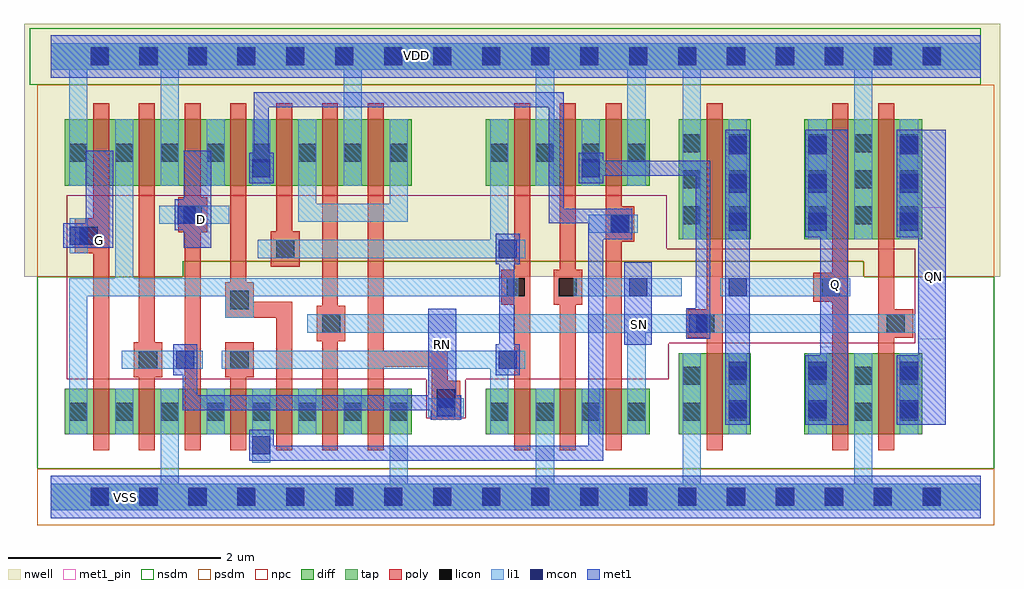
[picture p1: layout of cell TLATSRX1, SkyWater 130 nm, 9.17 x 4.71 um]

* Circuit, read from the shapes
.subckt TLATSRX1 D G Q QN RN SN VDD VSS
XM1 n1 G n2 VSS sky130_fd_pr__nfet_01v8 w=0.425 l=0.15
XM2 VSS RN n1 VSS sky130_fd_pr__nfet_01v8 w=0.425 l=0.15
XM3 n3 D VSS VSS sky130_fd_pr__nfet_01v8 w=0.425 l=0.15
XM4 n4 n5 n3 VSS sky130_fd_pr__nfet_01v8 w=0.425 l=0.15
XM5 n6 n2 n4 VSS sky130_fd_pr__nfet_01v8 w=0.425 l=0.15
XM6 n7 n8 n6 VSS sky130_fd_pr__nfet_01v8 w=0.425 l=0.15
XM7 VSS RN n7 VSS sky130_fd_pr__nfet_01v8 w=0.425 l=0.15
XM8 VSS n2 n5 VSS sky130_fd_pr__nfet_01v8 w=0.425 l=0.15
XM9 n9 SN VSS VSS sky130_fd_pr__nfet_01v8 w=0.425 l=0.15
XM10 n8 n4 n9 VSS sky130_fd_pr__nfet_01v8 w=0.425 l=0.15
XM11 n10 n8 VSS VSS sky130_fd_pr__nfet_01v8 w=0.76 l=0.15
XM12 VSS n10 Q VSS sky130_fd_pr__nfet_01v8 w=0.76 l=0.15
XM13 QN n8 VSS VSS sky130_fd_pr__nfet_01v8 w=0.76 l=0.15
XM14 n2 G VDD VDD sky130_fd_pr__pfet_01v8 w=0.625 l=0.15
XM15 VDD RN n2 VDD sky130_fd_pr__pfet_01v8 w=0.625 l=0.15
XM16 n11 D VDD VDD sky130_fd_pr__pfet_01v8 w=0.625 l=0.15
XM17 n4 n2 n11 VDD sky130_fd_pr__pfet_01v8 w=0.625 l=0.15
XM18 n12 n5 n4 VDD sky130_fd_pr__pfet_01v8 w=0.625 l=0.15
XM19 VDD n8 n12 VDD sky130_fd_pr__pfet_01v8 w=0.625 l=0.15
XM20 n12 RN VDD VDD sky130_fd_pr__pfet_01v8 w=0.625 l=0.15
XM21 VDD n2 n5 VDD sky130_fd_pr__pfet_01v8 w=0.625 l=0.15
XM22 n8 SN VDD VDD sky130_fd_pr__pfet_01v8 w=0.625 l=0.15
XM23 VDD n4 n8 VDD sky130_fd_pr__pfet_01v8 w=0.625 l=0.15
XM24 n10 n8 VDD VDD sky130_fd_pr__pfet_01v8 w=1.13 l=0.15
XM25 VDD n10 Q VDD sky130_fd_pr__pfet_01v8 w=1.13 l=0.15
XM26 QN n8 VDD VDD sky130_fd_pr__pfet_01v8 w=1.13 l=0.15
.ends

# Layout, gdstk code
from math import pi, radians
import gdstk
lib = gdstk.Library(unit=1e-6, precision=1e-09)
def R(c, l, rs):  # rectangles x0, y0, x1, y1
    for r in rs: c.add(gdstk.rectangle(r[:2], r[2:], *l))
def A(c, l, x, y, w, h, nx, ny, dx, dy):  # array of equal rectangles
    R(c, l, [(x+i*dx, y+j*dy, x+i*dx+w, y+j*dy+h) for i in range(nx) for j in range(ny)])
def P(c, l, *ps):  # polygons
    for p in ps: c.add(gdstk.Polygon(p, *l))
nwell = (64, 20)
diff = (65, 20)
tap = (65, 44)
poly = (66, 20)
licon = (66, 44)
li1 = (67, 20)
mcon = (67, 44)
met1_pin = (68, 16)
met1 = (68, 20)
nsdm = (93, 44)
psdm = (94, 20)
npc = (95, 20)

nfet_01v8_cdns_715785618 = lib.new_cell('nfet_01v8_CDNS_715785618200')
R(nfet_01v8_cdns_715785618, diff, [(-0.265,0,0,0.76), (0,0,0.15,0.76), (0.15,0,0.415,0.76)])
R(nfet_01v8_cdns_715785618, poly, [(0,-0.15,0.15,-0.095), (0,-0.095,0.15,0), (0,0,0.15,0.76), (0,0.76,0.15,0.855), (0,0.855,0.15,0.91)])
R(nfet_01v8_cdns_715785618, licon, [(-0.225,0.125,-0.055,0.295), (0.205,0.125,0.375,0.295), (-0.225,0.465,-0.055,0.635), (0.205,0.465,0.375,0.635)])
R(nfet_01v8_cdns_715785618, li1, [(-0.225,0,-0.055,0.76), (0.205,0,0.375,0.76)])
R(nfet_01v8_cdns_715785618, nsdm, [(-0.405,-0.13,0.555,0.89)])

c_nfet_01v8_cdns_715785618 = lib.new_cell('nfet_01v8_CDNS_715785618201')
R(c_nfet_01v8_cdns_715785618, diff, [(-0.265,0,0,0.425), (0,0,0.15,0.425), (0.15,0,0.415,0.425)])
R(c_nfet_01v8_cdns_715785618, poly, [(0,-0.15,0.15,-0.095), (0,-0.095,0.15,0), (0,0,0.15,0.425), (0,0.425,0.15,0.52), (0,0.52,0.15,0.575)])
R(c_nfet_01v8_cdns_715785618, licon, [(-0.225,0.125,-0.055,0.295), (0.205,0.125,0.375,0.295)])
R(c_nfet_01v8_cdns_715785618, li1, [(-0.225,0,-0.055,0.425), (0.205,0,0.375,0.425)])
R(c_nfet_01v8_cdns_715785618, nsdm, [(-0.405,-0.13,0.555,0.555)])

pfet_01v8_cdns_715785618 = lib.new_cell('pfet_01v8_CDNS_715785618202')
R(pfet_01v8_cdns_715785618, nwell, [(-0.445,-0.18,0.595,1.31)])
R(pfet_01v8_cdns_715785618, diff, [(-0.265,0,0,1.13), (0,0,0.15,1.13), (0.15,0,0.415,1.13)])
R(pfet_01v8_cdns_715785618, poly, [(0,-0.15,0.15,-0.095), (0,-0.095,0.15,0), (0,0,0.15,1.13), (0,1.13,0.15,1.225), (0,1.225,0.15,1.28)])
A(pfet_01v8_cdns_715785618, licon, -0.225, 0.14, 0.17, 0.17, 1, 3, 0, 0.34)
A(pfet_01v8_cdns_715785618, licon, 0.205, 0.14, 0.17, 0.17, 1, 3, 0, 0.34)
R(pfet_01v8_cdns_715785618, li1, [(-0.225,0,-0.055,1.13), (0.205,0,0.375,1.13)])
R(pfet_01v8_cdns_715785618, psdm, [(-0.405,-0.13,0.555,1.26)])

c_nfet_01v8_cdns_715785618_ = lib.new_cell('nfet_01v8_CDNS_715785618203')
R(c_nfet_01v8_cdns_715785618_, diff, [(-0.055,0,0,0.76), (0,0,0.15,0.76), (0.15,0,0.415,0.76)])
R(c_nfet_01v8_cdns_715785618_, poly, [(0,-0.15,0.15,-0.095), (0,-0.095,0.15,0), (0,0,0.15,0.76), (0,0.76,0.15,0.855), (0,0.855,0.15,0.91)])
R(c_nfet_01v8_cdns_715785618_, licon, [(0.205,0.125,0.375,0.295), (0.205,0.465,0.375,0.635)])
R(c_nfet_01v8_cdns_715785618_, li1, [(0.205,0,0.375,0.76)])
R(c_nfet_01v8_cdns_715785618_, nsdm, [(-0.065,-0.13,0.555,0.89)])

c_pfet_01v8_cdns_715785618 = lib.new_cell('pfet_01v8_CDNS_715785618204')
R(c_pfet_01v8_cdns_715785618, nwell, [(-0.235,-0.18,0.595,1.31)])
R(c_pfet_01v8_cdns_715785618, diff, [(-0.055,0,0,1.13), (0,0,0.15,1.13), (0.15,0,0.415,1.13)])
R(c_pfet_01v8_cdns_715785618, poly, [(0,-0.15,0.15,-0.095), (0,-0.095,0.15,0), (0,0,0.15,1.13), (0,1.13,0.15,1.225), (0,1.225,0.15,1.28)])
A(c_pfet_01v8_cdns_715785618, licon, 0.205, 0.14, 0.17, 0.17, 1, 3, 0, 0.34)
R(c_pfet_01v8_cdns_715785618, li1, [(0.205,0,0.375,1.13)])
R(c_pfet_01v8_cdns_715785618, psdm, [(-0.065,-0.13,0.555,1.26)])

c_nfet_01v8_cdns_715785618__ = lib.new_cell('nfet_01v8_CDNS_715785618205')
R(c_nfet_01v8_cdns_715785618__, diff, [(-0.265,0,0,0.425), (0,0,0.15,0.425), (0.15,0,0.375,0.425)])
R(c_nfet_01v8_cdns_715785618__, poly, [(0,-0.15,0.15,-0.095), (0,-0.095,0.15,0), (0,0,0.15,0.425), (0,0.425,0.15,0.52), (0,0.52,0.15,0.575)])
R(c_nfet_01v8_cdns_715785618__, licon, [(-0.225,0.125,-0.055,0.295), (0.205,0.125,0.375,0.295)])
R(c_nfet_01v8_cdns_715785618__, li1, [(-0.225,0,-0.055,0.425), (0.205,0,0.375,0.425)])
R(c_nfet_01v8_cdns_715785618__, nsdm, [(-0.405,-0.13,0.385,0.555)])

c_pfet_01v8_cdns_715785618_ = lib.new_cell('pfet_01v8_CDNS_7157856182014')
R(c_pfet_01v8_cdns_715785618_, nwell, [(-0.445,-0.18,0.595,0.805)])
R(c_pfet_01v8_cdns_715785618_, diff, [(-0.265,0,0,0.625), (0,0,0.15,0.625), (0.15,0,0.415,0.625)])
R(c_pfet_01v8_cdns_715785618_, poly, [(0,-0.15,0.15,-0.095), (0,-0.095,0.15,0), (0,0,0.15,0.625), (0,0.625,0.15,0.72), (0,0.72,0.15,0.775)])
R(c_pfet_01v8_cdns_715785618_, licon, [(-0.225,0.225,-0.055,0.395), (0.205,0.225,0.375,0.395)])
R(c_pfet_01v8_cdns_715785618_, li1, [(-0.225,0,-0.055,0.625), (0.205,0,0.375,0.625)])
R(c_pfet_01v8_cdns_715785618_, psdm, [(-0.405,-0.13,0.555,0.755)])

c_nfet_01v8_cdns_715785618___ = lib.new_cell('nfet_01v8_CDNS_715785618207')
R(c_nfet_01v8_cdns_715785618___, diff, [(-0.225,0,0,0.76), (0,0,0.15,0.76), (0.15,0,0.415,0.76)])
R(c_nfet_01v8_cdns_715785618___, poly, [(0,-0.15,0.15,-0.095), (0,-0.095,0.15,0), (0,0,0.15,0.76), (0,0.76,0.15,0.855), (0,0.855,0.15,0.91)])
R(c_nfet_01v8_cdns_715785618___, licon, [(-0.225,0.125,-0.055,0.295), (0.205,0.125,0.375,0.295), (-0.225,0.465,-0.055,0.635), (0.205,0.465,0.375,0.635)])
R(c_nfet_01v8_cdns_715785618___, li1, [(-0.225,0,-0.055,0.76), (0.205,0,0.375,0.76)])
R(c_nfet_01v8_cdns_715785618___, nsdm, [(-0.235,-0.13,0.555,0.89)])

c_pfet_01v8_cdns_715785618__ = lib.new_cell('pfet_01v8_CDNS_715785618209')
R(c_pfet_01v8_cdns_715785618__, nwell, [(-0.445,-0.18,0.385,0.805)])
R(c_pfet_01v8_cdns_715785618__, diff, [(-0.265,0,0,0.625), (0,0,0.15,0.625), (0.15,0,0.205,0.625)])
R(c_pfet_01v8_cdns_715785618__, poly, [(0,-0.15,0.15,-0.095), (0,-0.095,0.15,0), (0,0,0.15,0.625), (0,0.625,0.15,0.72), (0,0.72,0.15,0.775)])
R(c_pfet_01v8_cdns_715785618__, licon, [(-0.225,0.225,-0.055,0.395)])
R(c_pfet_01v8_cdns_715785618__, li1, [(-0.225,0,-0.055,0.625)])
R(c_pfet_01v8_cdns_715785618__, psdm, [(-0.405,-0.13,0.215,0.755)])

c_pfet_01v8_cdns_715785618___ = lib.new_cell('pfet_01v8_CDNS_7157856182010')
R(c_pfet_01v8_cdns_715785618___, nwell, [(-0.445,-0.18,0.555,0.805)])
R(c_pfet_01v8_cdns_715785618___, diff, [(-0.265,0,0,0.625), (0,0,0.15,0.625), (0.15,0,0.375,0.625)])
R(c_pfet_01v8_cdns_715785618___, poly, [(0,-0.15,0.15,-0.095), (0,-0.095,0.15,0), (0,0,0.15,0.625), (0,0.625,0.15,0.72), (0,0.72,0.15,0.775)])
R(c_pfet_01v8_cdns_715785618___, licon, [(-0.225,0.225,-0.055,0.395), (0.205,0.225,0.375,0.395)])
R(c_pfet_01v8_cdns_715785618___, li1, [(-0.225,0,-0.055,0.625), (0.205,0,0.375,0.625)])
R(c_pfet_01v8_cdns_715785618___, psdm, [(-0.405,-0.13,0.385,0.755)])

c_nfet_01v8_cdns_715785618____ = lib.new_cell('nfet_01v8_CDNS_7157856182011')
R(c_nfet_01v8_cdns_715785618____, diff, [(-0.265,0,0,0.425), (0,0,0.15,0.425), (0.15,0,0.205,0.425)])
R(c_nfet_01v8_cdns_715785618____, poly, [(0,-0.15,0.15,-0.095), (0,-0.095,0.15,0), (0,0,0.15,0.425), (0,0.425,0.15,0.52), (0,0.52,0.15,0.575)])
R(c_nfet_01v8_cdns_715785618____, licon, [(-0.225,0.125,-0.055,0.295)])
R(c_nfet_01v8_cdns_715785618____, li1, [(-0.225,0,-0.055,0.425)])
R(c_nfet_01v8_cdns_715785618____, nsdm, [(-0.405,-0.13,0.215,0.555)])

c_nfet_01v8_cdns_715785618_____ = lib.new_cell('nfet_01v8_CDNS_7157856182015')
R(c_nfet_01v8_cdns_715785618_____, diff, [(-0.265,0,0,0.425), (0,0,0.15,0.425), (0.15,0,0.415,0.425)])
R(c_nfet_01v8_cdns_715785618_____, poly, [(0,-0.15,0.15,-0.095), (0,-0.095,0.15,0), (0,0,0.15,0.425), (0,0.425,0.15,0.52), (0,0.52,0.15,0.575)])
R(c_nfet_01v8_cdns_715785618_____, licon, [(-0.225,0.125,-0.055,0.295), (0.205,0.125,0.375,0.295)])
R(c_nfet_01v8_cdns_715785618_____, li1, [(-0.225,0,-0.055,0.425), (0.205,0,0.375,0.425)])
R(c_nfet_01v8_cdns_715785618_____, nsdm, [(-0.405,-0.13,0.555,0.555)])

c_pfet_01v8_cdns_715785618____ = lib.new_cell('pfet_01v8_CDNS_7157856182012')
R(c_pfet_01v8_cdns_715785618____, nwell, [(-0.405,-0.18,0.595,1.31)])
R(c_pfet_01v8_cdns_715785618____, diff, [(-0.225,0,0,1.13), (0,0,0.15,1.13), (0.15,0,0.415,1.13)])
R(c_pfet_01v8_cdns_715785618____, poly, [(0,-0.15,0.15,-0.095), (0,-0.095,0.15,0), (0,0,0.15,1.13), (0,1.13,0.15,1.225), (0,1.225,0.15,1.28)])
A(c_pfet_01v8_cdns_715785618____, licon, -0.225, 0.14, 0.17, 0.17, 1, 3, 0, 0.34)
A(c_pfet_01v8_cdns_715785618____, licon, 0.205, 0.14, 0.17, 0.17, 1, 3, 0, 0.34)
R(c_pfet_01v8_cdns_715785618____, li1, [(-0.225,0,-0.055,1.13), (0.205,0,0.375,1.13)])
R(c_pfet_01v8_cdns_715785618____, psdm, [(-0.235,-0.13,0.555,1.26)])

c_pfet_01v8_cdns_715785618_____ = lib.new_cell('pfet_01v8_CDNS_7157856182013')
R(c_pfet_01v8_cdns_715785618_____, nwell, [(-0.445,-0.18,0.595,0.805)])
R(c_pfet_01v8_cdns_715785618_____, diff, [(-0.265,0,0,0.625), (0,0,0.15,0.625), (0.15,0,0.415,0.625)])
R(c_pfet_01v8_cdns_715785618_____, poly, [(0,-0.15,0.15,-0.095), (0,-0.095,0.15,0), (0,0,0.15,0.625), (0,0.625,0.15,0.72), (0,0.72,0.15,0.775)])
R(c_pfet_01v8_cdns_715785618_____, licon, [(-0.225,0.225,-0.055,0.395), (0.205,0.225,0.375,0.395)])
R(c_pfet_01v8_cdns_715785618_____, li1, [(-0.225,0,-0.055,0.625), (0.205,0,0.375,0.625)])
R(c_pfet_01v8_cdns_715785618_____, psdm, [(-0.405,-0.13,0.555,0.755)])

pyl1con_c_cdns_715785618 = lib.new_cell('PYL1CON_C_CDNS_715785618200')
R(pyl1con_c_cdns_715785618, poly, [(-0.135,-0.165,0.135,0.165)])
R(pyl1con_c_cdns_715785618, licon, [(-0.085,-0.085,0.085,0.085)])
R(pyl1con_c_cdns_715785618, npc, [(-0.185,-0.185,0.185,0.185)])

l1m1_c_cdns_715785618202 = lib.new_cell('L1M1_C_CDNS_715785618202')
R(l1m1_c_cdns_715785618202, li1, [(-0.085,-0.165,0.085,0.165)])
R(l1m1_c_cdns_715785618202, mcon, [(-0.085,-0.085,0.085,0.085)])
R(l1m1_c_cdns_715785618202, met1, [(-0.115,-0.145,0.115,0.145)])

l1m1_c_cdns_715785618203 = lib.new_cell('L1M1_C_CDNS_715785618203')
R(l1m1_c_cdns_715785618203, li1, [(-0.165,-0.085,0.165,0.085)])
R(l1m1_c_cdns_715785618203, mcon, [(-0.085,-0.085,0.085,0.085)])
R(l1m1_c_cdns_715785618203, met1, [(-0.115,-0.145,0.115,0.145)])

l1m1_c_cdns_715785618204 = lib.new_cell('L1M1_C_CDNS_715785618204')
R(l1m1_c_cdns_715785618204, li1, [(-0.085,-0.525,0.085,0.525)])
A(l1m1_c_cdns_715785618204, mcon, -0.085, -0.445, 0.17, 0.17, 1, 3, 0, 0.36)
R(l1m1_c_cdns_715785618204, met1, [(-0.115,-0.505,0.115,0.505)])

l1m1_c_cdns_715785618205 = lib.new_cell('L1M1_C_CDNS_715785618205')
R(l1m1_c_cdns_715785618205, li1, [(-0.085,-0.345,0.085,0.345)])
R(l1m1_c_cdns_715785618205, mcon, [(-0.085,-0.265,0.085,-0.095), (-0.085,0.095,0.085,0.265)])
R(l1m1_c_cdns_715785618205, met1, [(-0.115,-0.325,0.115,0.325)])

tlatsrx1 = lib.new_cell('TLATSRX1')
R(tlatsrx1, nwell, [(-0.25,2.07,8.92,4.445), (-0.25,3.875,8.92,4.445)])
A(tlatsrx1, licon, 0.375, -0.085, 0.17, 0.17, 18, 2, 0.46, 4.14)
R(tlatsrx1, li1, [(1.64,1.685,1.91,1.885)])
A(tlatsrx1, mcon, 0.375, -0.085, 0.17, 0.17, 18, 2, 0.46, 4.14)
R(tlatsrx1, met1_pin, [(3.55,0.83,3.81,1.77), (7.23,1.405,7.49,2.645), (5.39,1.43,5.65,2.205), (8.15,1.48,8.41,2.72), (0.33,2.34,0.59,3.255), (1.25,2.34,1.51,3.255)])
R(tlatsrx1, met1, [(3.615,1.225,3.755,1.365), (5.495,1.64,5.635,1.78), (7.275,1.9,7.415,2.04), (8.205,2,8.345,2.14), (0.44,2.39,0.58,2.53), (5.19,2.42,5.235,2.71), (1.31,2.575,1.45,2.715)])
R(tlatsrx1, nsdm, [(6.72,0.46,6.94,1.48), (-0.195,3.875,8.74,4.405), (-0.195,3.93,8.74,4.35)])
P(tlatsrx1, nsdm, [(8.865,2.07),(7.64,2.07),(7.64,2.215),(1.24,2.215),(1.24,2.07),(-0.125,2.07),(-0.125,0.265),(8.865,0.265)])
R(tlatsrx1, psdm, [(-0.125,-0.265,8.865,0.265), (-0.125,-0.21,8.865,0.21)])
P(tlatsrx1, psdm, [(8.865,3.875),(-0.125,3.875),(-0.125,2.07),(1.26,2.07),(1.26,2.215),(7.64,2.215),(7.64,2.07),(8.865,2.07)],
  [(8.33,3.875),(-0.125,3.875),(-0.125,2.07),(1.24,2.07),(1.24,2.215),(8.33,2.215)])
P(tlatsrx1, npc, [(8.125,2.33),(5.79,2.33),(5.79,2.835),(0.15,2.835),(0.15,1.105),(5.81,1.105),(5.81,1.445),(8.125,1.445)])
tlatsrx1.add(gdstk.FlexPath([(3.655,0.84),(3.655,1.3)], 0.15, ends=(0, 0.075), simple_path=True, layer=66, datatype=20))  # poly
tlatsrx1.add(gdstk.FlexPath([(1.765,1.76),(1.765,2.83)], 0.15, ends=(0.075, 0), simple_path=True, layer=66, datatype=20))  # poly
tlatsrx1.add(gdstk.FlexPath([(1.765,1.76),(2.195,1.76)], 0.15, ends="extended", simple_path=True, layer=66, datatype=20))  # poly
tlatsrx1.add(gdstk.FlexPath([(2.195,1.76),(2.195,1.11)], 0.15, ends=(0.075, 0), simple_path=True, layer=66, datatype=20))  # poly
tlatsrx1.add(gdstk.FlexPath([(4.43,1.165),(4.43,2.83)], 0.15, ends="flush", simple_path=True, layer=66, datatype=20))  # poly
tlatsrx1.add(gdstk.FlexPath([(3.055,2.83),(3.055,1.11)], 0.15, ends="flush", simple_path=True, layer=66, datatype=20))  # poly
tlatsrx1.add(gdstk.FlexPath([(1.335,1.11),(1.335,2.83)], 0.15, ends="flush", simple_path=True, layer=66, datatype=20))  # poly
tlatsrx1.add(gdstk.FlexPath([(5.29,1.11),(5.29,2.83)], 0.15, ends="flush", simple_path=True, layer=66, datatype=20))  # poly
tlatsrx1.add(gdstk.FlexPath([(0.905,2.83),(0.905,1.11)], 0.15, ends="flush", simple_path=True, layer=66, datatype=20))  # poly
tlatsrx1.add(gdstk.FlexPath([(4.86,1.11),(4.86,2.83)], 0.15, ends="flush", simple_path=True, layer=66, datatype=20))  # poly
tlatsrx1.add(gdstk.FlexPath([(0.475,1.165),(0.475,2.775)], 0.15, ends="flush", simple_path=True, layer=66, datatype=20))  # poly
tlatsrx1.add(gdstk.FlexPath([(2.195,2.775),(2.195,2.465)], 0.15, ends="flush", simple_path=True, layer=66, datatype=20))  # poly
tlatsrx1.add(gdstk.FlexPath([(3.655,1.3),(3.055,1.3)], 0.15, ends=(0.075, 0), simple_path=True, layer=66, datatype=20))  # poly
tlatsrx1.add(gdstk.FlexPath([(2.625,2.83),(2.625,1.11)], 0.15, ends="flush", simple_path=True, layer=66, datatype=20))  # poly
tlatsrx1.add(gdstk.FlexPath([(7.85,1.445),(7.85,2.325)], 0.15, ends="flush", simple_path=True, layer=66, datatype=20))  # poly
tlatsrx1.add(gdstk.FlexPath([(7.42,1.445),(7.42,2.325)], 0.15, ends="flush", simple_path=True, layer=66, datatype=20))  # poly
tlatsrx1.add(gdstk.FlexPath([(6.24,2.27),(6.24,1.5)], 0.15, ends="flush", simple_path=True, layer=66, datatype=20))  # poly
tlatsrx1.add(gdstk.FlexPath([(0.69,2.945),(0.69,1.97)], 0.17, ends=(0, 0.085), simple_path=True, layer=67, datatype=20))  # li1
tlatsrx1.add(gdstk.FlexPath([(0.69,1.97),(4.31,1.97)], 0.17, ends="extended", simple_path=True, layer=67, datatype=20))  # li1
tlatsrx1.add(gdstk.FlexPath([(1.945,2.33),(4.24,2.33)], 0.17, ends="flush", simple_path=True, layer=67, datatype=20))  # li1
tlatsrx1.add(gdstk.FlexPath([(3.27,2.67),(2.41,2.67)], 0.17, ends="extended", simple_path=True, layer=67, datatype=20))  # li1
tlatsrx1.add(gdstk.FlexPath([(5.505,3.53),(5.505,4.14)], 0.17, ends=(0, 0.125), simple_path=True, layer=67, datatype=20))  # li1
tlatsrx1.add(gdstk.FlexPath([(0,4.14),(8.74,4.14)], 0.25, ends="flush", simple_path=True, layer=67, datatype=20))  # li1
tlatsrx1.add(gdstk.FlexPath([(0.26,0.93),(0.175,0.93)], 0.17, ends=(0.085, 0), simple_path=True, layer=67, datatype=20))  # li1
tlatsrx1.add(gdstk.FlexPath([(4.215,2.925),(4.215,2.405)], 0.17, ends=(0, 0.085), simple_path=True, layer=67, datatype=20))  # li1
tlatsrx1.add(gdstk.FlexPath([(4.645,0.635),(4.645,0)], 0.17, ends=(0, 0.125), simple_path=True, layer=67, datatype=20))  # li1
tlatsrx1.add(gdstk.FlexPath([(3.27,1.015),(3.27,0)], 0.17, ends=(0, 0.125), simple_path=True, layer=67, datatype=20))  # li1
tlatsrx1.add(gdstk.FlexPath([(2.41,1.63),(4.425,1.63)], 0.17, ends="flush", simple_path=True, layer=67, datatype=20))  # li1
tlatsrx1.add(gdstk.FlexPath([(1.61,1.29),(4.225,1.29)], 0.17, ends="flush", simple_path=True, layer=67, datatype=20))  # li1
tlatsrx1.add(gdstk.FlexPath([(4.425,1.63),(6.405,1.63)], 0.17, ends="flush", simple_path=True, layer=67, datatype=20))  # li1
tlatsrx1.add(gdstk.FlexPath([(4.645,3.53),(4.645,4.14)], 0.17, ends=(0, 0.125), simple_path=True, layer=67, datatype=20))  # li1
tlatsrx1.add(gdstk.FlexPath([(3.27,2.925),(3.27,2.67)], 0.17, ends=(0, 0.085), simple_path=True, layer=67, datatype=20))  # li1
tlatsrx1.add(gdstk.FlexPath([(2.41,2.67),(2.41,2.925)], 0.17, ends=(0.085, 0), simple_path=True, layer=67, datatype=20))  # li1
tlatsrx1.add(gdstk.FlexPath([(0,0),(8.74,0)], 0.25, ends="flush", simple_path=True, layer=67, datatype=20))  # li1
tlatsrx1.add(gdstk.FlexPath([(2.84,2.925),(2.84,4.14)], 0.17, ends=(0, 0.125), simple_path=True, layer=67, datatype=20))  # li1
tlatsrx1.add(gdstk.FlexPath([(1.02,2.65),(1.68,2.65)], 0.17, ends="flush", simple_path=True, layer=67, datatype=20))  # li1
tlatsrx1.add(gdstk.FlexPath([(0.67,1.29),(1.31,1.29)], 0.17, ends="flush", simple_path=True, layer=67, datatype=20))  # li1
tlatsrx1.add(gdstk.FlexPath([(1.12,1.015),(1.12,0)], 0.17, ends=(0, 0.125), simple_path=True, layer=67, datatype=20))  # li1
tlatsrx1.add(gdstk.FlexPath([(1.12,2.925),(1.12,4.14)], 0.17, ends=(0, 0.125), simple_path=True, layer=67, datatype=20))  # li1
tlatsrx1.add(gdstk.FlexPath([(6.465,1.97),(7.515,1.97)], 0.17, ends="flush", simple_path=True, layer=67, datatype=20))  # li1
tlatsrx1.add(gdstk.FlexPath([(5.055,2.565),(5.22,2.565)], 0.17, ends="flush", simple_path=True, layer=67, datatype=20))  # li1
tlatsrx1.add(gdstk.FlexPath([(0.26,1.97),(0.26,0.93)], 0.17, ends="extended", simple_path=True, layer=67, datatype=20))  # li1
tlatsrx1.add(gdstk.FlexPath([(4.215,1.015),(4.215,1.29)], 0.17, ends=(0, 0.085), simple_path=True, layer=67, datatype=20))  # li1
tlatsrx1.add(gdstk.FlexPath([(6.29,1.63),(8.125,1.63)], 0.17, ends="flush", simple_path=True, layer=67, datatype=20))  # li1
tlatsrx1.add(gdstk.FlexPath([(6.025,2.925),(6.025,4.14)], 0.17, ends=(0, 0.125), simple_path=True, layer=67, datatype=20))  # li1
tlatsrx1.add(gdstk.FlexPath([(7.635,2.925),(7.635,4.14)], 0.17, ends=(0, 0.125), simple_path=True, layer=67, datatype=20))  # li1
tlatsrx1.add(gdstk.FlexPath([(6.025,1.015),(6.025,0)], 0.17, ends=(0, 0.125), simple_path=True, layer=67, datatype=20))  # li1
tlatsrx1.add(gdstk.FlexPath([(7.635,1.35),(7.635,0)], 0.17, ends=(0, 0.125), simple_path=True, layer=67, datatype=20))  # li1
tlatsrx1.add(gdstk.FlexPath([(4.31,1.97),(4.31,1.975)], 0.17, ends=(0.085, 0), simple_path=True, layer=67, datatype=20))  # li1
tlatsrx1.add(gdstk.FlexPath([(4.915,1.97),(5.93,1.97)], 0.17, ends="flush", simple_path=True, layer=67, datatype=20))  # li1
tlatsrx1.add(gdstk.FlexPath([(5.505,1.015),(5.505,1.63)], 0.17, ends=(0, 0.085), simple_path=True, layer=67, datatype=20))  # li1
tlatsrx1.add(gdstk.FlexPath([(0.26,2.925),(0.26,4.14)], 0.17, ends=(0, 0.125), simple_path=True, layer=67, datatype=20))  # li1
tlatsrx1.add(gdstk.FlexPath([(0.69,1.97),(0.26,1.97)], 0.17, ends="extended", simple_path=True, layer=67, datatype=20))  # li1
tlatsrx1.add(gdstk.FlexPath([(0,4.14),(8.74,4.14)], 0.25, ends="flush", simple_path=True, layer=65, datatype=44))  # tap
tlatsrx1.add(gdstk.FlexPath([(0,0),(8.74,0)], 0.25, ends="flush", simple_path=True, layer=65, datatype=44))  # tap
tlatsrx1.add(gdstk.FlexPath([(4.75,3.73),(4.75,2.64)], 0.14, ends="extended", simple_path=True, layer=68, datatype=20))  # met1
tlatsrx1.add(gdstk.FlexPath([(5.12,0.41),(1.98,0.41)], 0.14, ends="extended", simple_path=True, layer=68, datatype=20))  # met1
tlatsrx1.add(gdstk.FlexPath([(1.98,0.41),(1.98,0.365)], 0.14, ends=(0.07, 0), simple_path=True, layer=68, datatype=20))  # met1
tlatsrx1.add(gdstk.FlexPath([(3.715,0.885),(3.715,0.84)], 0.29, ends=(0.07, 0), simple_path=True, layer=68, datatype=20))  # met1
tlatsrx1.add(gdstk.FlexPath([(1.31,0.885),(3.715,0.885)], 0.14, ends=(0.07, 0.145), simple_path=True, layer=68, datatype=20))  # met1
tlatsrx1.add(gdstk.FlexPath([(5.505,3.09),(5.075,3.09)], 0.14, ends="extended", simple_path=True, layer=68, datatype=20))  # met1
tlatsrx1.add(gdstk.FlexPath([(4.285,2.475),(4.285,1.225)], 0.14, ends="flush", simple_path=True, layer=68, datatype=20))  # met1
tlatsrx1.add(gdstk.FlexPath([(0,4.14),(8.74,4.14)], 0.4, ends="flush", simple_path=True, layer=68, datatype=20))  # met1
tlatsrx1.add(gdstk.FlexPath([(1.38,2.34),(1.38,3.255)], 0.26, ends="flush", simple_path=True, layer=68, datatype=20))  # met1
tlatsrx1.add(gdstk.FlexPath([(5.12,2.64),(5.12,0.41)], 0.14, ends="extended", simple_path=True, layer=68, datatype=20))  # met1
tlatsrx1.add(gdstk.FlexPath([(6.13,3.09),(5.505,3.09)], 0.14, ends=(0.07, 0), simple_path=True, layer=68, datatype=20))  # met1
tlatsrx1.add(gdstk.FlexPath([(6.13,1.705),(6.13,3.09)], 0.14, ends="extended", simple_path=True, layer=68, datatype=20))  # met1
tlatsrx1.add(gdstk.FlexPath([(4.75,2.64),(5.12,2.64)], 0.14, ends="extended", simple_path=True, layer=68, datatype=20))  # met1
tlatsrx1.add(gdstk.FlexPath([(1.98,2.97),(1.98,3.73)], 0.14, ends=(0, 0.07), simple_path=True, layer=68, datatype=20))  # met1
tlatsrx1.add(gdstk.FlexPath([(5.075,3.09),(5.075,3.165)], 0.14, ends=(0.07, 0), simple_path=True, layer=68, datatype=20))  # met1
tlatsrx1.add(gdstk.FlexPath([(1.31,1.29),(1.31,0.885)], 0.14, ends="extended", simple_path=True, layer=68, datatype=20))  # met1
tlatsrx1.add(gdstk.FlexPath([(1.265,1.29),(1.31,1.29)], 0.14, ends=(0, 0.07), simple_path=True, layer=68, datatype=20))  # met1
tlatsrx1.add(gdstk.FlexPath([(7.36,0.68),(7.36,3.45)], 0.26, ends="flush", simple_path=True, layer=68, datatype=20))  # met1
tlatsrx1.add(gdstk.FlexPath([(1.98,3.73),(4.75,3.73)], 0.14, ends="extended", simple_path=True, layer=68, datatype=20))  # met1
tlatsrx1.add(gdstk.FlexPath([(8.28,0.68),(8.28,3.45)], 0.26, ends="flush", simple_path=True, layer=68, datatype=20))  # met1
tlatsrx1.add(gdstk.FlexPath([(6.455,0.68),(6.455,3.45)], 0.23, ends="flush", simple_path=True, layer=68, datatype=20))  # met1
tlatsrx1.add(gdstk.FlexPath([(0.46,2.34),(0.46,3.255)], 0.26, ends="flush", simple_path=True, layer=68, datatype=20))  # met1
tlatsrx1.add(gdstk.FlexPath([(0,0),(8.74,0)], 0.4, ends="flush", simple_path=True, layer=68, datatype=20))  # met1
tlatsrx1.add(gdstk.FlexPath([(5.52,1.43),(5.52,2.205)], 0.26, ends="flush", simple_path=True, layer=68, datatype=20))  # met1
tlatsrx1.add(gdstk.FlexPath([(6.015,1.705),(6.13,1.705)], 0.14, ends=(0, 0.07), simple_path=True, layer=68, datatype=20))  # met1
tlatsrx1.add(gdstk.FlexPath([(3.68,0.83),(3.68,1.77)], 0.26, ends="flush", simple_path=True, layer=68, datatype=20))  # met1
tlatsrx1.add(gdstk.FlexPath([(0,4.14),(8.74,4.14)], 0.4, ends="flush", simple_path=True, layer=68, datatype=16))  # met1_pin
tlatsrx1.add(gdstk.FlexPath([(0,0),(8.74,0)], 0.4, ends="flush", simple_path=True, layer=68, datatype=16))  # met1_pin
tlatsrx1.add(gdstk.Reference(nfet_01v8_cdns_715785618, (6.165,0.59)))
tlatsrx1.add(gdstk.Reference(c_nfet_01v8_cdns_715785618, (2.7,0.59), rotation=pi, x_reflection=True))
tlatsrx1.add(gdstk.Reference(c_nfet_01v8_cdns_715785618, (4.785,0.59)))
tlatsrx1.add(gdstk.Reference(c_nfet_01v8_cdns_715785618, (0.98,0.59), rotation=pi, x_reflection=True))
tlatsrx1.add(gdstk.Reference(c_nfet_01v8_cdns_715785618, (4.505,0.59), rotation=pi, x_reflection=True))
tlatsrx1.add(gdstk.Reference(c_nfet_01v8_cdns_715785618, (5.215,0.59)))
tlatsrx1.add(gdstk.Reference(c_nfet_01v8_cdns_715785618, (1.26,0.59)))
tlatsrx1.add(gdstk.Reference(c_nfet_01v8_cdns_715785618, (0.55,0.59), rotation=pi, x_reflection=True))
tlatsrx1.add(gdstk.Reference(pfet_01v8_cdns_715785618, (6.165,2.42)))
tlatsrx1.add(gdstk.Reference(c_nfet_01v8_cdns_715785618_, (7.775,0.59)))
tlatsrx1.add(gdstk.Reference(c_pfet_01v8_cdns_715785618, (7.775,2.42)))
tlatsrx1.add(gdstk.Reference(c_nfet_01v8_cdns_715785618__, (1.69,0.59)))
tlatsrx1.add(gdstk.Reference(c_pfet_01v8_cdns_715785618_, (3.13,2.925), rotation=pi, x_reflection=True))
tlatsrx1.add(gdstk.Reference(c_nfet_01v8_cdns_715785618___, (7.495,0.59), rotation=pi, x_reflection=True))
tlatsrx1.add(gdstk.Reference(c_pfet_01v8_cdns_715785618__, (2.27,2.925), rotation=pi, x_reflection=True))
tlatsrx1.add(gdstk.Reference(c_pfet_01v8_cdns_715785618___, (1.69,2.925)))
tlatsrx1.add(gdstk.Reference(c_nfet_01v8_cdns_715785618____, (2.27,0.59), rotation=pi, x_reflection=True))
tlatsrx1.add(gdstk.Reference(c_nfet_01v8_cdns_715785618_____, (2.98,0.59)))
tlatsrx1.add(gdstk.Reference(c_pfet_01v8_cdns_715785618____, (7.495,2.42), rotation=pi, x_reflection=True))
tlatsrx1.add(gdstk.Reference(c_pfet_01v8_cdns_715785618_____, (4.785,2.925)))
tlatsrx1.add(gdstk.Reference(c_pfet_01v8_cdns_715785618_____, (0.98,2.925), rotation=pi, x_reflection=True))
tlatsrx1.add(gdstk.Reference(c_pfet_01v8_cdns_715785618_____, (5.215,2.925)))
tlatsrx1.add(gdstk.Reference(c_pfet_01v8_cdns_715785618_____, (4.505,2.925), rotation=pi, x_reflection=True))
tlatsrx1.add(gdstk.Reference(c_pfet_01v8_cdns_715785618_____, (2.7,2.925), rotation=pi, x_reflection=True))
tlatsrx1.add(gdstk.Reference(c_pfet_01v8_cdns_715785618_____, (1.26,2.925)))
tlatsrx1.add(gdstk.Reference(c_pfet_01v8_cdns_715785618_____, (0.4,2.925)))
tlatsrx1.add(gdstk.Reference(pyl1con_c_cdns_715785618, (6.15,1.63), rotation=pi/2, x_reflection=True))
tlatsrx1.add(gdstk.Reference(pyl1con_c_cdns_715785618, (3.715,0.925), rotation=pi))
tlatsrx1.add(gdstk.Reference(pyl1con_c_cdns_715785618, (4.37,1.97), rotation=pi, x_reflection=True))
tlatsrx1.add(gdstk.Reference(pyl1con_c_cdns_715785618, (1.775,1.85), x_reflection=True))
tlatsrx1.add(gdstk.Reference(pyl1con_c_cdns_715785618, (1.775,1.29), x_reflection=True))
tlatsrx1.add(gdstk.Reference(pyl1con_c_cdns_715785618, (7.94,1.63), rotation=pi/2, x_reflection=True))
tlatsrx1.add(gdstk.Reference(pyl1con_c_cdns_715785618, (7.33,1.97), rotation=pi/2, x_reflection=True))
tlatsrx1.add(gdstk.Reference(pyl1con_c_cdns_715785618, (2.205,2.33), rotation=pi))
tlatsrx1.add(gdstk.Reference(pyl1con_c_cdns_715785618, (4.86,1.97), rotation=pi, x_reflection=True))
tlatsrx1.add(gdstk.Reference(pyl1con_c_cdns_715785618, (1.335,2.65), x_reflection=True))
tlatsrx1.add(gdstk.Reference(pyl1con_c_cdns_715785618, (0.915,1.29), rotation=pi))
tlatsrx1.add(gdstk.Reference(pyl1con_c_cdns_715785618, (5.35,2.565), x_reflection=True))
tlatsrx1.add(gdstk.Reference(pyl1con_c_cdns_715785618, (2.635,1.63), rotation=pi))
tlatsrx1.add(gdstk.Reference(pyl1con_c_cdns_715785618, (0.36,2.455), x_reflection=True))
tlatsrx1.add(gdstk.Reference(l1m1_c_cdns_715785618202, (1.98,3.09), rotation=pi, x_reflection=True))
tlatsrx1.add(gdstk.Reference(l1m1_c_cdns_715785618202, (1.98,0.485), rotation=pi, x_reflection=True))
tlatsrx1.add(gdstk.Reference(l1m1_c_cdns_715785618202, (5.075,3.09), rotation=pi, x_reflection=True))
tlatsrx1.add(gdstk.Reference(l1m1_c_cdns_715785618202, (3.715,0.84), rotation=pi/2))
tlatsrx1.add(gdstk.Reference(l1m1_c_cdns_715785618203, (4.295,2.33), rotation=pi, x_reflection=True))
tlatsrx1.add(gdstk.Reference(l1m1_c_cdns_715785618203, (6.085,1.63)))
tlatsrx1.add(gdstk.Reference(l1m1_c_cdns_715785618203, (1.28,2.65), x_reflection=True))
tlatsrx1.add(gdstk.Reference(l1m1_c_cdns_715785618203, (4.295,1.29), rotation=pi, x_reflection=True))
tlatsrx1.add(gdstk.Reference(l1m1_c_cdns_715785618203, (5.52,1.97), x_reflection=True))
tlatsrx1.add(gdstk.Reference(l1m1_c_cdns_715785618203, (1.265,1.29), x_reflection=True))
tlatsrx1.add(gdstk.Reference(l1m1_c_cdns_715785618203, (5.35,2.565)))
tlatsrx1.add(gdstk.Reference(l1m1_c_cdns_715785618203, (6.455,1.97), x_reflection=True))
tlatsrx1.add(gdstk.Reference(l1m1_c_cdns_715785618203, (0.265,2.455), rotation=3*pi/2, x_reflection=True))
tlatsrx1.add(gdstk.Reference(l1m1_c_cdns_715785618204, (7.205,2.945)))
tlatsrx1.add(gdstk.Reference(l1m1_c_cdns_715785618204, (8.065,2.945)))
tlatsrx1.add(gdstk.Reference(l1m1_c_cdns_715785618204, (6.455,2.945)))
tlatsrx1.add(gdstk.Reference(l1m1_c_cdns_715785618205, (7.205,1.005)))
tlatsrx1.add(gdstk.Reference(l1m1_c_cdns_715785618205, (8.065,1.005)))
tlatsrx1.add(gdstk.Reference(l1m1_c_cdns_715785618205, (6.455,1.005)))
tlatsrx1.add(gdstk.Label('RN', (3.68,1.435), layer=68, texttype=20))
tlatsrx1.add(gdstk.Label('D', (1.415,2.61), layer=68, texttype=20))
tlatsrx1.add(gdstk.Label('VSS', (0.7,-0.005), layer=68, texttype=16))
tlatsrx1.add(gdstk.Label('VDD', (3.44,4.15), layer=68, texttype=16))
tlatsrx1.add(gdstk.Label('Q', (7.372,1.999), layer=68, texttype=5))
tlatsrx1.add(gdstk.Label('QN', (8.292,2.074), layer=68, texttype=5))
tlatsrx1.add(gdstk.Label('G', (0.462,2.414), layer=68, texttype=5))
tlatsrx1.add(gdstk.Label('SN', (5.537,1.624), layer=68, texttype=5))

lib.write_gds('TLATSRX1.gds')
